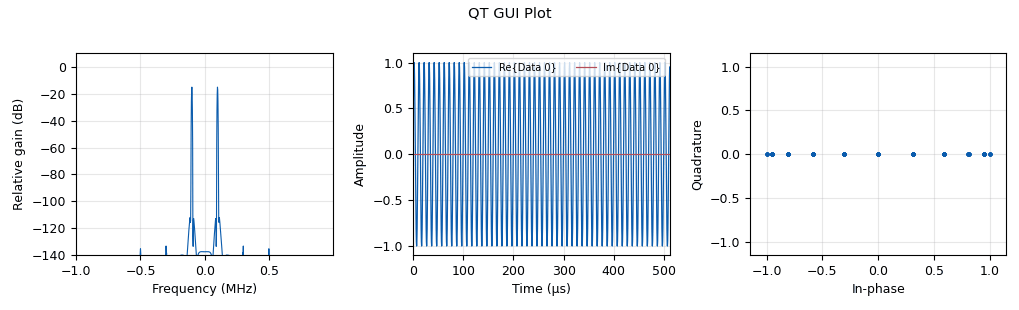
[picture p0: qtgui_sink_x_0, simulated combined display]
<?xml version='1.0' encoding='utf-8'?>
<?grc format='1' created='3.7.6'?>
<flow_graph>
<block>
<key>options</key>
<param><key>id</key><value>TestTx_QT</value></param>
<param><key>title</key><value>USRP Signal Generator (QT)</value></param>
<param><key>author</key><value>MR</value></param>
<param><key>description</key><value>Generate a signal and send to the USRP</value></param>
<param><key>generate_options</key><value>qt_gui</value></param>
<param><key>category</key><value>Custom</value></param>
</block>
<block>
<key>variable</key>
<param><key>id</key><value>samp_rate</value></param>
<param><key>value</key><value>2000000</value></param>
</block>
<block>
<key>qtgui_tab_widget</key>
<param><key>id</key><value>tab_widget</value></param>
<param><key>num_tabs</key><value>2</value></param>
<param><key>label0</key><value>Real</value></param>
<param><key>label1</key><value>Complex</value></param>
</block>
<block>
<key>variable_qtgui_range</key>
<param><key>id</key><value>car_freq</value></param>
<param><key>label</key><value>Carrier Frequency</value></param>
<param><key>value</key><value>1000000</value></param>
<param><key>start</key><value>0</value></param>
<param><key>stop</key><value>5000000</value></param>
<param><key>step</key><value>100000</value></param>
<param><key>widget</key><value>counter</value></param>
<param><key>orient</key><value>Qt.Horizontal</value></param>
</block>
<block>
<key>variable_qtgui_range</key>
<param><key>id</key><value>sig_amp_r</value></param>
<param><key>label</key><value>Real Signal Amplitude</value></param>
<param><key>value</key><value>1</value></param>
<param><key>start</key><value>0</value></param>
<param><key>stop</key><value>1</value></param>
<param><key>step</key><value>0.05</value></param>
<param><key>widget</key><value>counter</value></param>
<param><key>orient</key><value>Qt.Horizontal</value></param>
<param><key>gui_hint</key><value>tab_widget@0</value></param>
</block>
<block>
<key>variable_qtgui_range</key>
<param><key>id</key><value>sig_amp_c</value></param>
<param><key>label</key><value>Complex Signal Amplitude</value></param>
<param><key>value</key><value>0</value></param>
<param><key>start</key><value>0</value></param>
<param><key>stop</key><value>1</value></param>
<param><key>step</key><value>0.05</value></param>
<param><key>widget</key><value>counter</value></param>
<param><key>orient</key><value>Qt.Horizontal</value></param>
<param><key>gui_hint</key><value>tab_widget@1</value></param>
</block>
<block>
<key>variable_qtgui_range</key>
<param><key>id</key><value>sig_freq_c</value></param>
<param><key>label</key><value>Complex Signal Frequency</value></param>
<param><key>value</key><value>0</value></param>
<param><key>start</key><value>0</value></param>
<param><key>stop</key><value>1000000</value></param>
<param><key>step</key><value>50000</value></param>
<param><key>widget</key><value>counter</value></param>
<param><key>orient</key><value>Qt.Horizontal</value></param>
<param><key>gui_hint</key><value>tab_widget@1</value></param>
</block>
<block>
<key>analog_sig_source_x</key>
<param><key>id</key><value>analog_sig_source_x_0_0</value></param>
<param><key>type</key><value>float</value></param>
<param><key>samp_rate</key><value>samp_rate</value></param>
<param><key>waveform</key><value>analog.GR_COS_WAVE</value></param>
<param><key>freq</key><value>sig_freq_c</value></param>
<param><key>amp</key><value>sig_amp_c</value></param>
<param><key>offset</key><value>0</value></param>
</block>
<block>
<key>qtgui_sink_x</key>
<param><key>id</key><value>qtgui_sink_x_0</value></param>
<param><key>type</key><value>complex</value></param>
<param><key>name</key><value>QT GUI Plot</value></param>
<param><key>fftsize</key><value>1024</value></param>
<param><key>wintype</key><value>firdes.WIN_BLACKMAN_hARRIS</value></param>
<param><key>fc</key><value>0</value></param>
<param><key>bw</key><value>samp_rate</value></param>
<param><key>freqchangevar</key><value>None</value></param>
<param><key>showports</key><value>True</value></param>
</block>
<block>
<key>uhd_usrp_sink</key>
<param><key>id</key><value>uhd_usrp_sink_0</value></param>
<param><key>type</key><value>fc32</value></param>
<param><key>dev_addr</key><value></value></param>
<param><key>dev_args</key><value>""</value></param>
<param><key>sync</key><value></value></param>
<param><key>clock_rate</key><value>0.0</value></param>
<param><key>samp_rate</key><value>samp_rate</value></param>
<param><key>center_freq0</key><value>car_freq</value></param>
<param><key>gain0</key><value>0</value></param>
<param><key>ant0</key><value></value></param>
<param><key>len_tag_name</key><value></value></param>
</block>
<block>
<key>blocks_float_to_complex</key>
<param><key>id</key><value>blocks_float_to_complex_0</value></param>
</block>
<block>
<key>analog_sig_source_x</key>
<param><key>id</key><value>analog_sig_source_x_0</value></param>
<param><key>type</key><value>float</value></param>
<param><key>samp_rate</key><value>samp_rate</value></param>
<param><key>waveform</key><value>analog.GR_COS_WAVE</value></param>
<param><key>freq</key><value>sig_freq_r</value></param>
<param><key>amp</key><value>sig_amp_r</value></param>
<param><key>offset</key><value>0</value></param>
</block>
<block>
<key>variable_qtgui_range</key>
<param><key>id</key><value>sig_freq_r</value></param>
<param><key>label</key><value>Real Signal Frequency</value></param>
<param><key>value</key><value>100000</value></param>
<param><key>start</key><value>0</value></param>
<param><key>stop</key><value>1000000</value></param>
<param><key>step</key><value>50000</value></param>
<param><key>widget</key><value>counter</value></param>
<param><key>orient</key><value>Qt.Horizontal</value></param>
<param><key>gui_hint</key><value>tab_widget@0</value></param>
</block>
<connection><source_block_id>analog_sig_source_x_0</source_block_id><sink_block_id>blocks_float_to_complex_0</sink_block_id><source_key>0</source_key><sink_key>0</sink_key></connection>
<connection><source_block_id>analog_sig_source_x_0_0</source_block_id><sink_block_id>blocks_float_to_complex_0</sink_block_id><source_key>0</source_key><sink_key>1</sink_key></connection>
<connection><source_block_id>blocks_float_to_complex_0</source_block_id><sink_block_id>qtgui_sink_x_0</sink_block_id><source_key>0</source_key><sink_key>0</sink_key></connection>
<connection><source_block_id>blocks_float_to_complex_0</source_block_id><sink_block_id>uhd_usrp_sink_0</sink_block_id><source_key>0</source_key><sink_key>0</sink_key></connection>
</flow_graph>
